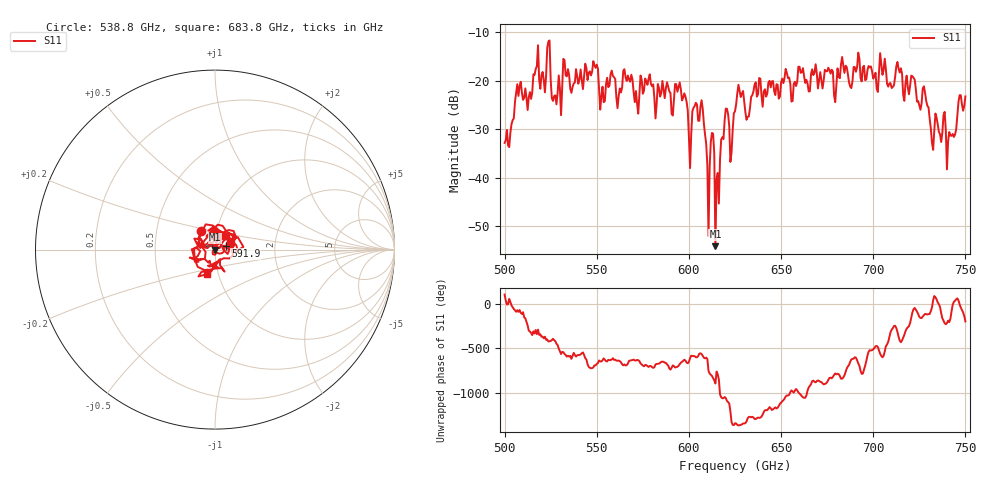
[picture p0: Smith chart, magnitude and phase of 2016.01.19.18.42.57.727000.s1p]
!Created with skrf (http://scikit-rf.org).
# GHz S RI R 50.0
!freq ReS11 ImS11
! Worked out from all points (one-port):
!   401 points, 500 GHz to 750 GHz, reference 50 ohm
!   lowest |S11| = -54.1 dB at 614.4 GHz (marker M1), VSWR 1.00, Z = 49.8 - j0.0139 ohm
!   |S11| at or under -10 dB: start of sweep to end of sweep
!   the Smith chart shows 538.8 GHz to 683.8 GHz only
!   S11 on the Smith chart (normalised r, x): 538.8 GHz: 0.83, +0.18; 591.9 GHz: 1.12, +0.05; 683.8 GHz: 0.88, -0.25
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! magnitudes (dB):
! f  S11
! 500 GHz  -32.8
! 516.9 GHz  -17.6
! 520.6 GHz  -18.2
! 523.8 GHz  -11.9
! 526.9 GHz  -23.2
! 531.2 GHz  -21.1
! 538.8 GHz  -17.6
! 549.4 GHz  -17.4
! 553.1 GHz  -21.2
! 558.8 GHz  -19.0
! 562.5 GHz  -21.6
! 591.9 GHz  -24.1
! 593.8 GHz  -22.3
! 600.6 GHz  -38.0
! 607.5 GHz  -25.8
! 610 GHz  -37.5
! 612.5 GHz  -30.8
! 614.4 GHz  -54.1
! 615.6 GHz  -39.0
! 620 GHz  -25.8
! 623.1 GHz  -34.8
! 625 GHz  -26.3
! 656.2 GHz  -24.2
! 683.8 GHz  -16.9
! 687.5 GHz  -21.2
! 718.8 GHz  -21.3
! 741.2 GHz  -30.6
! 750 GHz  -23.3
